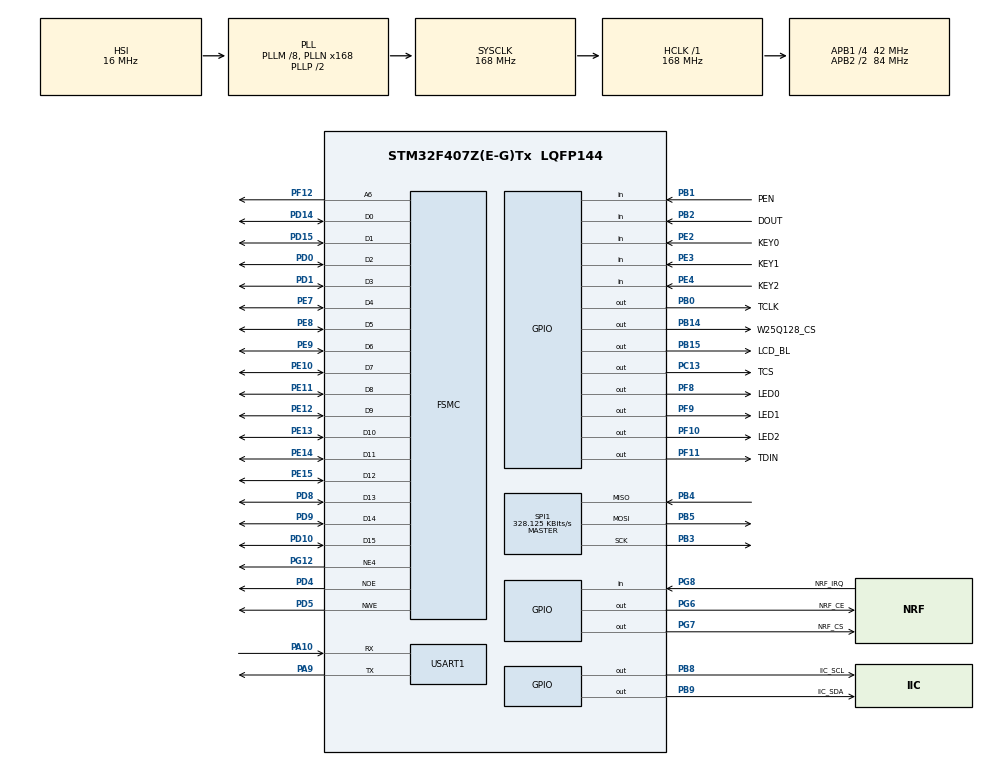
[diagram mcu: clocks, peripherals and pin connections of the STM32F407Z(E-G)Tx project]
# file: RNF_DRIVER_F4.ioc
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FSMC.AddressSetupTime1=0x0f
FSMC.BusTurnAroundDuration1=0
FSMC.DataSetupTime1=60
FSMC.ExtendedAddressSetupTime1=9
FSMC.ExtendedBusTurnAroundDuration1=0
FSMC.ExtendedDataSetupTime1=8
FSMC.ExtendedMode1=FSMC_EXTENDED_MODE_ENABLE
Mcu.Family=STM32F4
Mcu.Name=STM32F407Z(E-G)Tx
Mcu.Package=LQFP144
NVIC.PriorityGroup=NVIC_PRIORITYGROUP_4
PA10.Mode=Asynchronous
PA10.Signal=USART1_RX
PA13.Mode=Serial_Wire
PA13.Signal=SYS_JTMS-SWDIO
PA14.Mode=Serial_Wire
PA14.Signal=SYS_JTCK-SWCLK
PA9.Mode=Asynchronous
PA9.Signal=USART1_TX
PB0.GPIO_Label=TCLK
PB0.GPIO_PuPd=GPIO_PULLUP
PB0.GPIO_Speed=GPIO_SPEED_FREQ_VERY_HIGH
PB0.Signal=GPIO_Output
PB1.GPIO_Label=PEN
PB1.GPIO_Mode=GPIO_MODE_INPUT
PB1.GPIO_PuPd=GPIO_PULLUP
PB1.Signal=GPIO_Input
PB14.GPIO_Label=W25Q128_CS
PB14.GPIO_PuPd=GPIO_PULLUP
PB14.GPIO_Speed=GPIO_SPEED_FREQ_VERY_HIGH
PB14.PinState=GPIO_PIN_SET
PB14.Signal=GPIO_Output
PB15.GPIO_Label=LCD_BL
PB15.GPIO_PuPd=GPIO_PULLUP
PB15.GPIO_Speed=GPIO_SPEED_FREQ_MEDIUM
PB15.Signal=GPIO_Output
PB2.GPIO_Label=DOUT
PB2.GPIO_PuPd=GPIO_PULLUP
PB2.Signal=GPIO_Input
PB3.GPIO_Mode=GPIO_MODE_AF_PP
PB3.GPIO_PuPd=GPIO_PULLUP
PB3.GPIO_Speed=GPIO_SPEED_FREQ_VERY_HIGH
PB3.Mode=Full_Duplex_Master
PB3.Signal=SPI1_SCK
PB4.GPIO_Mode=GPIO_MODE_AF_PP
PB4.GPIO_PuPd=GPIO_PULLUP
PB4.GPIO_Speed=GPIO_SPEED_FREQ_VERY_HIGH
PB4.Mode=Full_Duplex_Master
PB4.Signal=SPI1_MISO
PB5.GPIO_Mode=GPIO_MODE_AF_PP
PB5.GPIO_PuPd=GPIO_PULLUP
PB5.GPIO_Speed=GPIO_SPEED_FREQ_VERY_HIGH
PB5.Mode=Full_Duplex_Master
PB5.Signal=SPI1_MOSI
PB8.GPIO_Label=IIC_SCL
PB8.GPIO_PuPd=GPIO_PULLUP
PB8.GPIO_Speed=GPIO_SPEED_FREQ_VERY_HIGH
PB8.Signal=GPIO_Output
PB9.GPIO_Label=IIC_SDA
PB9.GPIO_PuPd=GPIO_PULLUP
PB9.GPIO_Speed=GPIO_SPEED_FREQ_VERY_HIGH
PB9.Signal=GPIO_Output
PC13-ANTI_TAMP.GPIO_Label=TCS
PC13-ANTI_TAMP.Signal=GPIO_Output
PD0.GPIO_PuPd=GPIO_PULLUP
PD0.Signal=FSMC_D2_DA2
PD1.GPIO_PuPd=GPIO_PULLUP
PD1.Signal=FSMC_D3_DA3
PD10.GPIO_PuPd=GPIO_PULLUP
PD10.Signal=FSMC_D15_DA15
PD14.GPIO_PuPd=GPIO_PULLUP
PD14.Signal=FSMC_D0_DA0
PD15.GPIO_PuPd=GPIO_PULLUP
PD15.Signal=FSMC_D1_DA1
PD4.GPIO_PuPd=GPIO_PULLUP
PD4.Signal=FSMC_NOE
PD5.GPIO_PuPd=GPIO_PULLUP
PD5.Signal=FSMC_NWE
PD8.GPIO_PuPd=GPIO_PULLUP
PD8.Signal=FSMC_D13_DA13
PD9.GPIO_PuPd=GPIO_PULLUP
PD9.Signal=FSMC_D14_DA14
PE10.GPIO_PuPd=GPIO_PULLUP
PE10.Signal=FSMC_D7_DA7
PE11.GPIO_PuPd=GPIO_PULLUP
PE11.Signal=FSMC_D8_DA8
PE12.GPIO_PuPd=GPIO_PULLUP
PE12.Signal=FSMC_D9_DA9
PE13.GPIO_PuPd=GPIO_PULLUP
PE13.Signal=FSMC_D10_DA10
PE14.GPIO_PuPd=GPIO_PULLUP
PE14.Signal=FSMC_D11_DA11
PE15.GPIO_PuPd=GPIO_PULLUP
PE15.Signal=FSMC_D12_DA12
PE2.GPIO_Label=KEY0
PE2.GPIO_PuPd=GPIO_PULLUP
PE2.Signal=GPIO_Input
PE3.GPIO_Label=KEY1
PE3.GPIO_PuPd=GPIO_PULLUP
PE3.Signal=GPIO_Input
PE4.GPIO_Label=KEY2
PE4.GPIO_PuPd=GPIO_PULLUP
PE4.Signal=GPIO_Input
PE7.GPIO_PuPd=GPIO_PULLUP
PE7.Signal=FSMC_D4_DA4
PE8.GPIO_PuPd=GPIO_PULLUP
PE8.Signal=FSMC_D5_DA5
PE9.GPIO_PuPd=GPIO_PULLUP
PE9.Signal=FSMC_D6_DA6
PF10.GPIO_Label=LED2
PF10.GPIO_ModeDefaultOutputPP=GPIO_MODE_OUTPUT_PP
PF10.GPIO_PuPd=GPIO_PULLUP
PF10.GPIO_Speed=GPIO_SPEED_FREQ_VERY_HIGH
PF10.PinState=GPIO_PIN_SET
PF10.Signal=GPIO_Output
PF11.GPIO_Label=TDIN
PF11.GPIO_Speed=GPIO_SPEED_FREQ_VERY_HIGH
PF11.Signal=GPIO_Output
PF12.GPIO_PuPd=GPIO_PULLUP
PF12.Signal=FSMC_A6
PF8.GPIO_Label=LED0
PF8.GPIO_ModeDefaultOutputPP=GPIO_MODE_OUTPUT_PP
PF8.GPIO_PuPd=GPIO_PULLUP
PF8.GPIO_Speed=GPIO_SPEED_FREQ_VERY_HIGH
PF8.PinState=GPIO_PIN_SET
PF8.Signal=GPIO_Output
PF9.GPIO_Label=LED1
PF9.GPIO_ModeDefaultOutputPP=GPIO_MODE_OUTPUT_PP
PF9.GPIO_PuPd=GPIO_PULLUP
PF9.GPIO_Speed=GPIO_SPEED_FREQ_VERY_HIGH
PF9.PinState=GPIO_PIN_SET
PF9.Signal=GPIO_Output
PG12.GPIO_PuPd=GPIO_PULLUP
PG12.Mode=NorPsramChipSelect4_1
PG12.Signal=FSMC_NE4
PG6.GPIO_Label=NRF_CE
PG6.GPIO_ModeDefaultOutputPP=GPIO_MODE_OUTPUT_PP
PG6.GPIO_PuPd=GPIO_PULLUP
PG6.GPIO_Speed=GPIO_SPEED_FREQ_VERY_HIGH
PG6.Signal=GPIO_Output
PG7.GPIO_Label=NRF_CS
PG7.GPIO_ModeDefaultOutputPP=GPIO_MODE_OUTPUT_PP
PG7.GPIO_PuPd=GPIO_PULLUP
PG7.GPIO_Speed=GPIO_SPEED_FREQ_VERY_HIGH
PG7.Signal=GPIO_Output
PG8.GPIO_Label=NRF_IRQ
PG8.GPIO_PuPd=GPIO_PULLUP
PG8.Signal=GPIO_Input
PH0-OSC_IN.Mode=HSE-External-Oscillator
PH0-OSC_IN.Signal=RCC_OSC_IN
PH1-OSC_OUT.Mode=HSE-External-Oscillator
PH1-OSC_OUT.Signal=RCC_OSC_OUT
ProjectManager.HeapSize=0x200
ProjectManager.StackSize=0x400
ProjectManager.TargetToolchain=MDK-ARM V5.27
RCC.48MHZClocksFreq_Value=84000000
RCC.AHBFreq_Value=168000000
RCC.APB1CLKDivider=RCC_HCLK_DIV4
RCC.APB1Freq_Value=42000000
RCC.APB1TimFreq_Value=84000000
RCC.APB2CLKDivider=RCC_HCLK_DIV2
RCC.APB2Freq_Value=84000000
RCC.APB2TimFreq_Value=168000000
RCC.CortexFreq_Value=168000000
RCC.HCLKFreq_Value=168000000
RCC.HSE_VALUE=8000000
RCC.HSI_VALUE=16000000
RCC.LSE_VALUE=32768
RCC.PLLM=8
RCC.PLLN=168
RCC.SYSCLKFreq_VALUE=168000000
RCC.SYSCLKSource=RCC_SYSCLKSOURCE_PLLCLK
RCC.VCOOutputFreq_Value=336000000
SH.FSMC_A6.0=FSMC_A6,A6_1
SH.FSMC_D0_DA0.0=FSMC_D0,16b-d1
SH.FSMC_D10_DA10.0=FSMC_D10,16b-d1
SH.FSMC_D11_DA11.0=FSMC_D11,16b-d1
SH.FSMC_D12_DA12.0=FSMC_D12,16b-d1
SH.FSMC_D13_DA13.0=FSMC_D13,16b-d1
SH.FSMC_D14_DA14.0=FSMC_D14,16b-d1
SH.FSMC_D15_DA15.0=FSMC_D15,16b-d1
SH.FSMC_D1_DA1.0=FSMC_D1,16b-d1
SH.FSMC_D2_DA2.0=FSMC_D2,16b-d1
SH.FSMC_D3_DA3.0=FSMC_D3,16b-d1
SH.FSMC_D4_DA4.0=FSMC_D4,16b-d1
SH.FSMC_D5_DA5.0=FSMC_D5,16b-d1
SH.FSMC_D6_DA6.0=FSMC_D6,16b-d1
SH.FSMC_D7_DA7.0=FSMC_D7,16b-d1
SH.FSMC_D8_DA8.0=FSMC_D8,16b-d1
SH.FSMC_D9_DA9.0=FSMC_D9,16b-d1
SH.FSMC_NOE.0=FSMC_NOE,Lcd1
SH.FSMC_NWE.0=FSMC_NWE,Lcd1
SPI1.BaudRatePrescaler=SPI_BAUDRATEPRESCALER_256
SPI1.CLKPhase=SPI_PHASE_2EDGE
SPI1.CLKPolarity=SPI_POLARITY_HIGH
SPI1.CRCCalculation=SPI_CRCCALCULATION_DISABLE
SPI1.CalculateBaudRate=328.125 KBits/s
SPI1.DataSize=SPI_DATASIZE_8BIT
SPI1.Direction=SPI_DIRECTION_2LINES
SPI1.Mode=SPI_MODE_MASTER
SPI1.VirtualType=VM_MASTER
USART1.VirtualMode=VM_ASYNC
board=custom

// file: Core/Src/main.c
/* USER CODE BEGIN Header */
/**
  ******************************************************************************
  * @file           : main.c
  * @brief          : Main program body
  ******************************************************************************
  * @attention
  *
  * <h2><center>&copy; Copyright (c) 2021 STMicroelectronics.
  * All rights reserved.</center></h2>
  *
  * This software component is licensed by ST under BSD 3-Clause license,
  * the "License"; You may not use this file except in compliance with the
  * License. You may obtain a copy of the License at:
  *                        opensource.org/licenses/BSD-3-Clause
  *
  ******************************************************************************
  */
/* USER CODE END Header */
#include "main.h"
#include "spi.h"
#include "usart.h"
#include "gpio.h"
#include "fsmc.h"

/* USER CODE BEGIN Includes */
#include "base.h"
#include "lcd.h"
#include "touch.h"
#include "24l01.h"
/* USER CODE END Includes */

void SystemClock_Config(void);

int main(void)
{
  /* USER CODE BEGIN 1 */
	u8 key,mode;
	u16 t=0;
	u8 tmp_buf[33];
  /* USER CODE END 1 */

  /* MCU Configuration--------------------------------------------------------*/

  /* Reset of all peripherals, Initializes the Flash interface and the Systick. */
  HAL_Init();

  /* Configure the system clock */
  SystemClock_Config();

  /* Initialize all configured peripherals */
  MX_GPIO_Init();
  MX_FSMC_Init();
  MX_SPI1_Init();
  MX_USART1_UART_Init();
  /* USER CODE BEGIN 2 */
  delay_init(168);
	LCD_Init();
	tp_dev.init();
 	NRF24L01_Init();

 	POINT_COLOR=RED;//
	LCD_ShowString(30,50,200,16,16,"Explorer STM32F4");
	LCD_ShowString(30,70,200,16,16,"NRF24L01 TEST");
	LCD_ShowString(30,90,200,16,16,"ATOM@ALIENTEK");
	LCD_ShowString(30,110,200,16,16,"2014/5/9");
	while(NRF24L01_Check())
	{
		LCD_ShowString(30,130,200,16,16,"NRF24L01 Error");
		delay_ms(200);
		LCD_Fill(30,130,239,130+16,WHITE);
 		delay_ms(200);
	}
	LCD_ShowString(30,130,200,16,16,"NRF24L01 OK");
 	while(1)
	{
		key=KEY_Scan(0);
		if(key==KEY0_PRES)
		{
			mode=0;
			break;
		}else if(key==KEY1_PRES)
		{
			mode=1;
			break;
		}
		t++;
		if(t==100)LCD_ShowString(10,150,230,16,16,"KEY0:RX_Mode  KEY1:TX_Mode"); //�?��显示提示信息
 		if(t==200)
		{
			LCD_Fill(10,150,230,150+16,WHITE);
			t=0;
		}
		delay_ms(5);
	}
 	LCD_Fill(10,150,240,166,WHITE);//清空上面的显�?
 	POINT_COLOR=BLUE;//设置字体为蓝�?
   	if(mode==0)//RX模式
	{
		LCD_ShowString(30,150,200,16,16,"NRF24L01 RX_Mode");
		LCD_ShowString(30,170,200,16,16,"Received DATA:");
		NRF24L01_RX_Mode();
		while(1)
		{
			if(NRF24L01_RxPacket(tmp_buf)==0)//�?旦接收到信息,则显示出�?.
			{
				tmp_buf[32]=0;//加入字�?串结束�?
				LCD_ShowString(0,190,lcddev.width-1,32,16,tmp_buf);
			}else delay_us(100);
			t++;
			if(t==10000)//大约1s钟改变一次状�?
			{
				t=0;
				LED0_T;
			}
		};
	}else//TX模式
	{
		LCD_ShowString(30,150,200,16,16,"NRF24L01 TX_Mode");
		NRF24L01_TX_Mode();
		mode=' ';//从空格键�?�?
		while(1)
		{
			if(NRF24L01_TxPacket(tmp_buf)==TX_OK)
			{
				LCD_ShowString(30,170,239,32,16,"Sended DATA:");
				LCD_ShowString(0,190,lcddev.width-1,32,16,tmp_buf);
				key=mode;
				for(t=0;t<32;t++)
				{
					key++;
					if(key>('~'))key=' ';
					tmp_buf[t]=key;
				}
				mode++;
				if(mode>'~')mode=' ';
				tmp_buf[32]=0;//加入结束�?
			}else
			{
 				LCD_Fill(0,170,lcddev.width,170+16*3,WHITE);//清空显示
				LCD_ShowString(30,170,lcddev.width-1,32,16,"Send Failed ");
			};
			LED0_T;
			delay_ms(1500);
		};
	}
  /* USER CODE END 2 */

  /* Infinite loop */
  while (1)
  {

  }
}

void SystemClock_Config(void)
{
  RCC_OscInitTypeDef RCC_OscInitStruct = {0};
  RCC_ClkInitTypeDef RCC_ClkInitStruct = {0};

  /** Configure the main internal regulator output voltage
  */
  __HAL_RCC_PWR_CLK_ENABLE();
  __HAL_PWR_VOLTAGESCALING_CONFIG(PWR_REGULATOR_VOLTAGE_SCALE1);
  /** Initializes the RCC Oscillators according to the specified parameters
  * in the RCC_OscInitTypeDef structure.
  */
  RCC_OscInitStruct.OscillatorType = RCC_OSCILLATORTYPE_HSI;
  RCC_OscInitStruct.HSIState = RCC_HSI_ON;
  RCC_OscInitStruct.HSICalibrationValue = RCC_HSICALIBRATION_DEFAULT;
  RCC_OscInitStruct.PLL.PLLState = RCC_PLL_ON;
  RCC_OscInitStruct.PLL.PLLSource = RCC_PLLSOURCE_HSI;
  RCC_OscInitStruct.PLL.PLLM = 8;
  RCC_OscInitStruct.PLL.PLLN = 168;
  RCC_OscInitStruct.PLL.PLLP = RCC_PLLP_DIV2;
  RCC_OscInitStruct.PLL.PLLQ = 4;
  if (HAL_RCC_OscConfig(&RCC_OscInitStruct) != HAL_OK)
  {
    Error_Handler();
  }
  /** Initializes the CPU, AHB and APB buses clocks
  */
  RCC_ClkInitStruct.ClockType = RCC_CLOCKTYPE_HCLK|RCC_CLOCKTYPE_SYSCLK
                              |RCC_CLOCKTYPE_PCLK1|RCC_CLOCKTYPE_PCLK2;
  RCC_ClkInitStruct.SYSCLKSource = RCC_SYSCLKSOURCE_PLLCLK;
  RCC_ClkInitStruct.AHBCLKDivider = RCC_SYSCLK_DIV1;
  RCC_ClkInitStruct.APB1CLKDivider = RCC_HCLK_DIV4;
  RCC_ClkInitStruct.APB2CLKDivider = RCC_HCLK_DIV2;

  if (HAL_RCC_ClockConfig(&RCC_ClkInitStruct, FLASH_LATENCY_5) != HAL_OK)
  {
    Error_Handler();
  }
}

void Error_Handler(void)
{
  __disable_irq();
  while (1)
  {
  }
}

/************************ (C) COPYRIGHT STMicroelectronics *****END OF FILE****/
